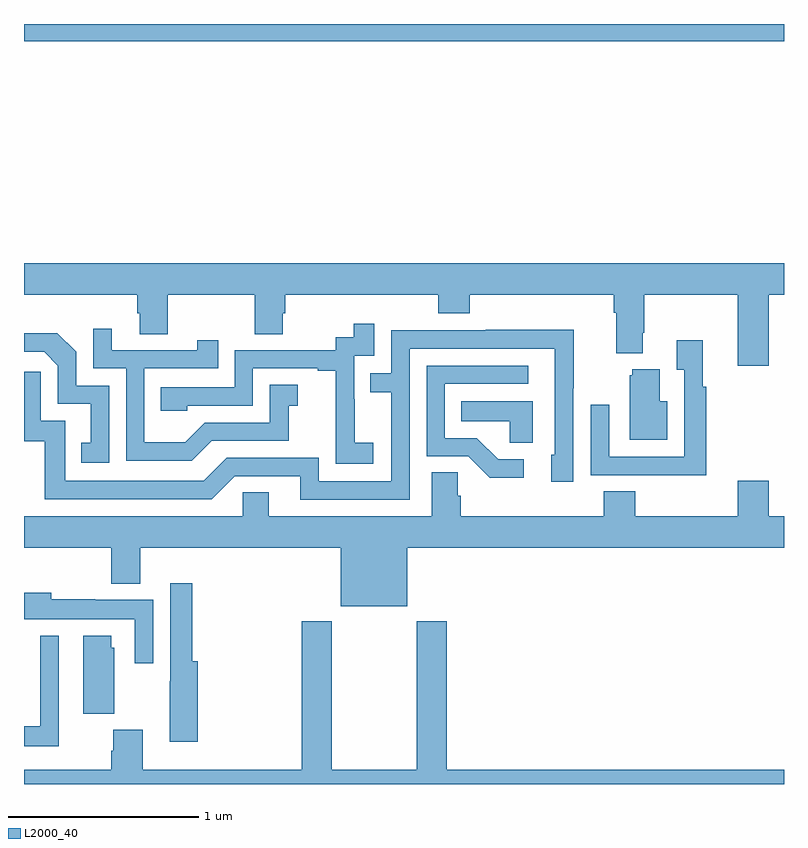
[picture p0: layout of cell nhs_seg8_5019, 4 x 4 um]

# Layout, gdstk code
import gdstk
lib = gdstk.Library(unit=1e-6, precision=1e-09)
def R(c, l, rs):  # rectangles x0, y0, x1, y1
    for r in rs: c.add(gdstk.rectangle(r[:2], r[2:], *l))
def P(c, l, *ps):  # polygons
    for p in ps: c.add(gdstk.Polygon(p, *l))
L2000_40 = (2000, 40)

nhs_seg8_5019 = lib.new_cell('nhs_seg8_5019')
R(nhs_seg8_5019, L2000_40, [(413,1141.808,417,1141.9)])
P(nhs_seg8_5019, L2000_40, [(416.92,1140.476),(417,1140.476),(417,1140.64),(413,1140.64),(413,1140.476),(413.597,1140.476),(413.597,1140.378),(413.609,1140.378),(413.609,1140.268),(413.757,1140.268),(413.757,1140.476),(414.214,1140.476),(414.214,1140.268),(414.361,1140.268),(414.361,1140.378),(414.374,1140.378),(414.374,1140.476),(415.181,1140.476),(415.181,1140.377),(415.346,1140.377),(415.346,1140.476),(416.105,1140.476),(416.105,1140.38),(416.117,1140.38),(416.117,1140.167),(416.257,1140.167),(416.257,1140.274),(416.265,1140.274),(416.265,1140.476),(416.756,1140.476),(416.756,1140.102),(416.92,1140.102)],
  [(414.838,1139.695),(414.74,1139.695),(414.74,1139.924),(414.738,1139.924),(414.738,1140.153),(414.843,1140.153),(414.843,1140.322),(414.735,1140.322),(414.735,1140.252),(414.642,1140.252),(414.642,1140.183),(414.108,1140.183),(414.108,1139.988),(413.719,1139.988),(413.719,1139.865),(413.859,1139.865),(413.859,1139.892),(414.204,1139.892),(414.204,1140.087),(414.545,1140.087),(414.545,1140.075),(414.641,1140.075),(414.641,1139.791),(414.64,1139.791),(414.64,1139.585),(414.838,1139.585)],
  [(413.989,1139.706),(414.393,1139.706),(414.393,1139.891),(414.442,1139.891),(414.442,1140.001),(414.294,1140.001),(414.294,1139.802),(413.952,1139.802),(413.848,1139.698),(413.634,1139.698),(413.634,1140.087),(414.023,1140.087),(414.023,1140.235),(413.912,1140.235),(413.912,1140.183),(413.461,1140.183),(413.461,1140.295),(413.364,1140.295),(413.364,1140.087),(413.538,1140.087),(413.538,1139.601),(413.884,1139.601)],
  [(415.029,1140.192),(415.794,1140.192),(415.794,1139.634),(415.775,1139.634),(415.775,1139.49),(415.89,1139.49),(415.89,1139.983),(415.893,1139.983),(415.893,1140.29),(415.429,1140.29),(415.429,1140.288),(414.933,1140.288),(414.933,1140.063),(414.823,1140.063),(414.823,1139.962),(414.933,1139.962),(414.933,1139.493),(414.552,1139.493),(414.552,1139.616),(414.066,1139.616),(413.946,1139.496),(413.217,1139.496),(413.217,1139.811),(413.088,1139.811),(413.088,1140.07),(413,1140.07),(413,1139.703),(413.109,1139.703),(413.109,1139.4),(413.988,1139.4),(414.108,1139.52),(414.455,1139.52),(414.455,1139.397),(415.029,1139.397)],
  [(413.448,1139.997),(413.274,1139.997),(413.274,1140.174),(413.176,1140.272),(413,1140.272),(413,1140.174),(413.106,1140.174),(413.178,1140.102),(413.178,1139.901),(413.351,1139.901),(413.351,1139.697),(413.302,1139.697),(413.302,1139.592),(413.448,1139.592)],
  [(416.591,1139.99),(416.573,1139.99),(416.573,1140.235),(416.435,1140.235),(416.435,1140.079),(416.475,1140.079),(416.475,1139.622),(416.079,1139.622),(416.079,1139.896),(415.983,1139.896),(415.983,1139.526),(416.299,1139.526),(416.299,1139.525),(416.591,1139.525)],
  [(415.63,1139.61),(415.495,1139.61),(415.384,1139.721),(415.215,1139.721),(415.215,1140.006),(415.654,1140.006),(415.654,1140.102),(415.119,1140.102),(415.119,1139.625),(415.338,1139.625),(415.451,1139.513),(415.63,1139.513)],
  [(416.386,1139.914),(416.347,1139.914),(416.347,1140.082),(416.201,1140.082),(416.201,1140.051),(416.189,1140.051),(416.189,1139.711),(416.386,1139.711)],
  [(415.678,1139.914),(415.3,1139.914),(415.3,1139.81),(415.557,1139.81),(415.557,1139.695),(415.678,1139.695)],
  [(415.018,1139.144),(417,1139.144),(417,1139.308),(416.92,1139.308),(416.92,1139.497),(416.756,1139.497),(416.756,1139.308),(416.216,1139.308),(416.216,1139.441),(416.051,1139.441),(416.051,1139.308),(415.298,1139.308),(415.298,1139.417),(415.284,1139.417),(415.284,1139.54),(415.145,1139.54),(415.145,1139.308),(414.289,1139.308),(414.289,1139.435),(414.15,1139.435),(414.15,1139.308),(413,1139.308),(413,1139.144),(413.459,1139.144),(413.459,1138.955),(413.611,1138.955),(413.611,1139.144),(414.668,1139.144),(414.668,1138.835),(415.018,1138.835)],
  [(413.915,1138.546),(413.885,1138.546),(413.885,1138.957),(413.769,1138.957),(413.769,1138.442),(413.768,1138.442),(413.768,1138.122),(413.915,1138.122)],
  [(413.679,1138.87),(413.375,1138.87),(413.375,1138.873),(413.144,1138.873),(413.144,1138.906),(413,1138.906),(413,1138.766),(413.583,1138.766),(413.583,1138.536),(413.679,1138.536)],
  [(417,1137.976),(415.226,1137.976),(415.226,1138.756),(415.066,1138.756),(415.066,1137.976),(414.621,1137.976),(414.621,1138.756),(414.461,1138.756),(414.461,1137.976),(413.624,1137.976),(413.624,1138.185),(413.471,1138.185),(413.471,1138.076),(413.459,1138.076),(413.459,1137.976),(413,1137.976),(413,1137.9),(417,1137.9)],
  [(413.182,1138.681),(413.085,1138.681),(413.085,1138.204),(413,1138.204),(413,1138.1),(413.182,1138.1)],
  [(413.476,1138.617),(413.458,1138.617),(413.458,1138.681),(413.312,1138.681),(413.312,1138.27),(413.476,1138.27)])

lib.write_gds('nhs_seg8_5019.gds')
